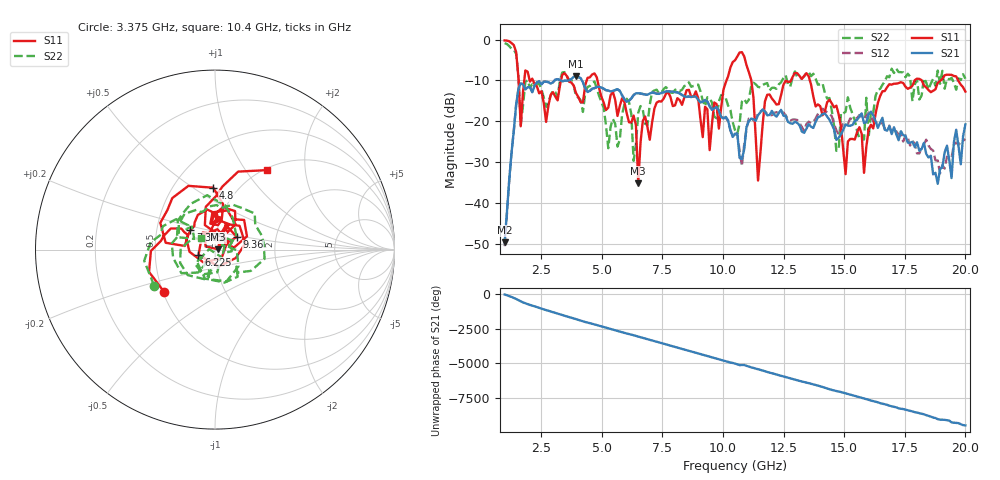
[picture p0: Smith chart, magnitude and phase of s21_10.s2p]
!Agilent Technologies,N5230A,MY45001629,A.07.50.67
!Agilent N5230A: A.07.50.67
!Date: Monday, June 05, 2017 15:56:35
!Correction: S11(Full 2 Port(1,2))
!S21(Full 2 Port(1,2))
!S12(Full 2 Port(1,2))
!S22(Full 2 Port(1,2))
!S2P File: Measurements: S11, S21, S12, S22:
# Hz S  dB  R 50
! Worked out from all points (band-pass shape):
!   201 points, 1 GHz to 20 GHz, reference 50 ohm
!   highest |S21| = -8.95 dB at 3.945 GHz (marker M1); lowest = -49.7 dB at 1 GHz (marker M2)
!   |S21| within 3 dB of the highest: 2.196 GHz to 4.325 GHz (2.128 GHz wide, 65.3 % of centre); 4.664 GHz to 5.056 GHz (392.2 MHz wide, 8.07 % of centre)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
!   lowest |S11| = -35.2 dB at 6.51 GHz (marker M3), VSWR 1.04, Z = 51.8 + j0.202 ohm
!   |S11| at or under -10 dB: 4.828 GHz to 10.15 GHz (5.324 GHz wide, 71.1 % of centre); 11.17 GHz to 12.81 GHz (1.64 GHz wide, 13.7 % of centre); 13.59 GHz to 17.91 GHz (4.321 GHz wide, 27.4 % of centre)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
!   |S22| runs from -29.7 to -0.9 dB; largest |S21 - S12| = 0.042
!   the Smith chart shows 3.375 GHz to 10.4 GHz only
!   S11 on the Smith chart (normalised r, x): 3.375 GHz: 0.51, -0.28; 4.8 GHz: 0.77, +0.61; 6.225 GHz: 0.83, -0.05; 7.365 GHz: 0.74, +0.17; 9.36 GHz: 1.26, +0.18; 10.4 GHz: 1.03, +1.26
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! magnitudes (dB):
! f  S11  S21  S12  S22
! 1 GHz  -0.2  -49.7  -50.6  -0.9
! 1.57 GHz  -9.3  -12.1  -12.1  -8.9
! 1.665 GHz  -21.2  -10.7  -10.8  -21.0
! 3.375 GHz  -8.7  -10.2  -10.3  -8.1
! 3.945 GHz  -13.1  -9.0  -8.9  -14.0
! 4.23 GHz  -15.4  -10.5  -10.5  -17.7
! 4.8 GHz  -9.2  -11.6  -11.6  -11.9
! 5.275 GHz  -16.7  -12.5  -12.5  -26.6
! 6.225 GHz  -20.3  -14.4  -14.4  -18.3
! 6.51 GHz  -35.2  -13.2  -13.2  -17.9
! 7.365 GHz  -15.1  -13.3  -13.3  -13.2
! 9.36 GHz  -17.1  -15.1  -15.2  -14.1
! 10.4 GHz  -5.5  -23.8  -23.5  -20.2
! 10.5 GHz  -5.1  -23.1  -23.1  -22.2
! 11.16 GHz  -9.8  -19.4  -19.5  -11.5
! 11.45 GHz  -34.5  -18.5  -18.1  -11.6
! 11.83 GHz  -13.5  -18.6  -18.2  -10.7
! 13.73 GHz  -14.0  -21.6  -20.2  -8.4
! 15.82 GHz  -32.6  -20.5  -19.4  -24.5
! 16.86 GHz  -10.9  -21.2  -21.1  -9.2
! 18.86 GHz  -10.6  -35.3  -29.6  -7.6
! 20 GHz  -12.7  -20.8  -24.3  -9.6
